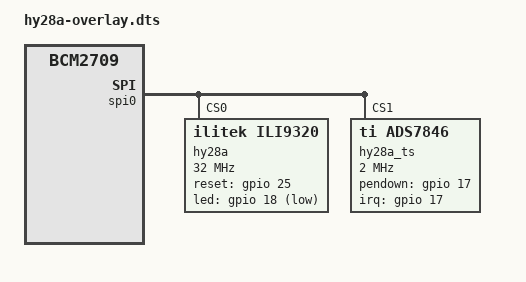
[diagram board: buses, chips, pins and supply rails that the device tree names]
/*
 * Device Tree overlay for HY28A display shield by Texy
 *
 */

/dts-v1/;
/plugin/;

/ {
	compatible = "brcm,bcm2835", "brcm,bcm2708", "brcm,bcm2709";

	fragment@0 {
		target = <&spi0>;
		__overlay__ {
			status = "okay";

			spidev@0{
				status = "disabled";
			};

			spidev@1{
				status = "disabled";
			};
		};
	};

	fragment@1 {
		target = <&gpio>;
		__overlay__ {
			hy28a_pins: hy28a_pins {
				brcm,pins = <17 25 18>;
				brcm,function = <0 1 1>; /* in out out */
			};
		};
	};

	fragment@2 {
		target = <&spi0>;
		__overlay__ {
			/* needed to avoid dtc warning */
			#address-cells = <1>;
			#size-cells = <0>;

			hy28a: hy28a@0{
				compatible = "ilitek,ili9320";
				reg = <0>;
				pinctrl-names = "default";
				pinctrl-0 = <&hy28a_pins>;

				spi-max-frequency = <32000000>;
				spi-cpol;
				spi-cpha;
				rotate = <270>;
				bgr;
				fps = <50>;
				buswidth = <8>;
				startbyte = <0x70>;
				reset-gpios = <&gpio 25 0>;
				led-gpios = <&gpio 18 1>;
				debug = <0>;
			};

			hy28a_ts: hy28a-ts@1 {
				compatible = "ti,ads7846";
				reg = <1>;

				spi-max-frequency = <2000000>;
				interrupts = <17 2>; /* high-to-low edge triggered */
				interrupt-parent = <&gpio>;
				pendown-gpio = <&gpio 17 0>;
				ti,x-plate-ohms = /bits/ 16 <100>;
				ti,pressure-max = /bits/ 16 <255>;
			};
		};
	};
	__overrides__ {
		speed =		<&hy28a>,"spi-max-frequency:0";
		rotate =	<&hy28a>,"rotate:0";
		fps =		<&hy28a>,"fps:0";
		debug =		<&hy28a>,"debug:0";
		xohms =		<&hy28a_ts>,"ti,x-plate-ohms;0";
		resetgpio =	<&hy28a>,"reset-gpios:4",
				<&hy28a_pins>, "brcm,pins:1";
		ledgpio =	<&hy28a>,"led-gpios:4",
				<&hy28a_pins>, "brcm,pins:2";
	};
};
